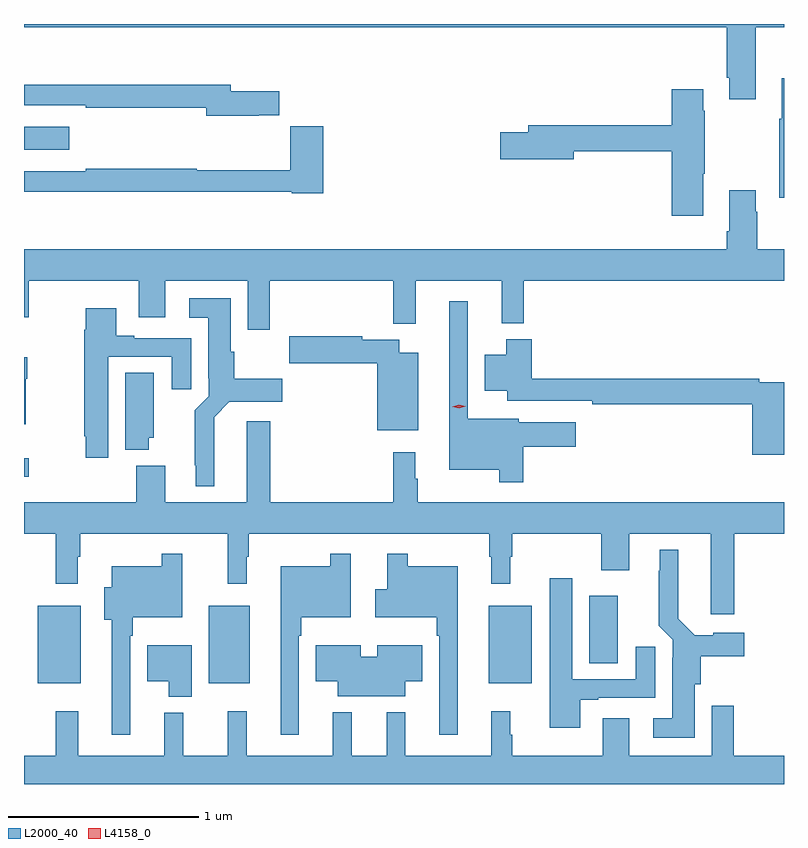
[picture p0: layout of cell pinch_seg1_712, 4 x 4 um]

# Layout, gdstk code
import gdstk
lib = gdstk.Library(unit=1e-6, precision=1e-09)
def R(c, l, rs):  # rectangles x0, y0, x1, y1
    for r in rs: c.add(gdstk.rectangle(r[:2], r[2:], *l))
def P(c, l, *ps):  # polygons
    for p in ps: c.add(gdstk.Polygon(p, *l))
L2000_40 = (2000, 40)
L4158_0 = (4158, 0)

pinch_seg1_712 = lib.new_cell('pinch_seg1_712')
R(pinch_seg1_712, L2000_40, [(640.202,537.623,640.429,538.033), (641.102,537.623,641.317,538.033), (642.575,537.623,642.802,538.033), (643.106,537.73,643.255,538.084), (640.13,538.712,640.156,538.809), (640.13,540.431,640.369,540.553)])
P(pinch_seg1_712, L2000_40, [(643.981,541.076),(644.13,541.076),(644.13,541.094),(640.13,541.094),(640.13,541.076),(643.829,541.076),(643.829,540.811),(643.841,540.811),(643.841,540.699),(643.981,540.699)],
  [(644.13,540.808),(644.117,540.808),(644.117,540.595),(644.106,540.595),(644.106,540.179),(644.13,540.179)],
  [(641.366,540.615),(641.474,540.615),(641.474,540.741),(641.218,540.741),(641.218,540.775),(640.13,540.775),(640.13,540.666),(640.456,540.666),(640.456,540.654),(641.09,540.654),(641.09,540.611),(641.366,540.611)],
  [(643.705,540.307),(643.713,540.307),(643.713,540.638),(643.705,540.638),(643.705,540.751),(643.538,540.751),(643.538,540.56),(642.785,540.56),(642.785,540.524),(642.636,540.524),(642.636,540.382),(643.024,540.382),(643.024,540.424),(643.538,540.424),(643.538,540.084),(643.705,540.084)],
  [(641.705,540.557),(641.531,540.557),(641.531,540.323),(641.038,540.323),(641.038,540.331),(640.456,540.331),(640.456,540.318),(640.13,540.318),(640.13,540.21),(641.538,540.21),(641.538,540.202),(641.705,540.202)],
  [(640.13,539.55),(640.155,539.55),(640.155,539.744),(640.733,539.744),(640.733,539.55),(640.873,539.55),(640.873,539.744),(641.307,539.744),(641.307,539.484),(641.423,539.484),(641.423,539.744),(642.073,539.744),(642.073,539.516),(642.191,539.516),(642.191,539.744),(642.644,539.744),(642.644,539.519),(642.761,539.519),(642.761,539.744),(644.13,539.744),(644.13,539.908),(643.989,539.908),(643.989,540.107),(643.981,540.107),(643.981,540.22),(643.841,540.22),(643.841,540.004),(643.829,540.004),(643.829,539.908),(640.13,539.908)],
  [(641.131,539.024),(641.211,539.105),(641.488,539.105),(641.488,539.227),(641.236,539.227),(641.236,539.37),(641.218,539.37),(641.218,539.65),(641.001,539.65),(641.001,539.549),(641.099,539.549),(641.099,539.23),(641.103,539.23),(641.103,539.136),(641.029,539.062),(641.029,538.771),(641.033,538.771),(641.033,538.661),(641.131,538.661)],
  [(642.758,538.87),(643.033,538.87),(643.033,538.999),(642.735,538.999),(642.735,539.017),(642.465,539.017),(642.465,539.635),(642.368,539.635),(642.368,538.748),(642.63,538.748),(642.63,538.683),(642.758,538.683)],
  [(640.573,539.343),(640.907,539.343),(640.907,539.172),(641.011,539.172),(641.011,539.439),(640.711,539.439),(640.711,539.452),(640.615,539.452),(640.615,539.599),(640.454,539.599),(640.454,539.486),(640.447,539.486),(640.447,538.924),(640.454,538.924),(640.454,538.812),(640.573,538.812)],
  [(642.205,539.365),(642.106,539.365),(642.106,539.431),(641.91,539.431),(641.91,539.451),(641.526,539.451),(641.526,539.309),(641.99,539.309),(641.99,538.955),(642.205,538.955)],
  [(644.13,539.208),(644,539.208),(644,539.228),(642.803,539.228),(642.803,539.434),(642.668,539.434),(642.668,539.353),(642.554,539.353),(642.554,539.165),(642.674,539.165),(642.674,539.112),(643.12,539.112),(643.12,539.092),(643.964,539.092),(643.964,538.827),(644.13,538.827)],
  [(640.138,539.228),(640.146,539.228),(640.146,539.341),(640.13,539.341),(640.13,538.988),(640.138,538.988)],
  [(640.786,538.917),(640.813,538.917),(640.813,539.258),(640.664,539.258),(640.664,538.853),(640.786,538.853)],
  [(643.868,538.412),(644.13,538.412),(644.13,538.576),(642.202,538.576),(642.202,538.7),(642.19,538.7),(642.19,538.84),(642.073,538.84),(642.073,538.576),(641.426,538.576),(641.426,539.002),(641.303,539.002),(641.303,538.576),(640.873,538.576),(640.873,538.768),(640.721,538.768),(640.721,538.576),(640.13,538.576),(640.13,538.412),(640.297,538.412),(640.297,538.149),(640.414,538.149),(640.414,538.289),(640.426,538.289),(640.426,538.412),(641.203,538.412),(641.203,538.149),(641.302,538.149),(641.302,538.289),(641.314,538.289),(641.314,538.412),(642.579,538.412),(642.579,538.289),(642.59,538.289),(642.59,538.149),(642.689,538.149),(642.689,538.289),(642.7,538.289),(642.7,538.412),(643.168,538.412),(643.168,538.218),(643.315,538.218),(643.315,538.412),(643.745,538.412),(643.745,537.987),(643.868,537.987)],
  [(643.66,537.618),(643.691,537.618),(643.691,537.767),(643.921,537.767),(643.921,537.889),(643.758,537.889),(643.758,537.877),(643.659,537.877),(643.573,537.964),(643.573,538.327),(643.475,538.327),(643.475,538.217),(643.471,538.217),(643.471,537.926),(643.545,537.852),(643.545,537.758),(643.541,537.758),(643.541,537.439),(643.443,537.439),(643.443,537.338),(643.66,537.338)],
  [(641.577,537.875),(641.59,537.875),(641.59,537.971),(641.85,537.971),(641.85,538.306),(641.742,538.306),(641.742,538.24),(641.48,538.24),(641.48,537.354),(641.577,537.354)],
  [(642.412,538.24),(642.151,538.24),(642.151,538.306),(642.041,538.306),(642.041,538.119),(641.978,538.119),(641.978,537.971),(642.303,537.971),(642.303,537.875),(642.315,537.875),(642.315,537.354),(642.412,537.354)],
  [(640.689,537.875),(640.702,537.875),(640.702,537.971),(640.962,537.971),(640.962,538.306),(640.854,538.306),(640.854,538.24),(640.592,538.24),(640.592,538.129),(640.553,538.129),(640.553,537.959),(640.592,537.959),(640.592,537.354),(640.689,537.354)],
  [(643.057,537.537),(643.153,537.537),(643.153,537.549),(643.453,537.549),(643.453,537.817),(643.349,537.817),(643.349,537.645),(643.015,537.645),(643.015,538.177),(642.896,538.177),(642.896,537.39),(643.057,537.39)],
  [(641.014,537.823),(640.778,537.823),(640.778,537.635),(640.892,537.635),(640.892,537.554),(641.014,537.554)],
  [(642.136,537.635),(642.226,537.635),(642.226,537.823),(641.99,537.823),(641.99,537.763),(641.902,537.763),(641.902,537.823),(641.666,537.823),(641.666,537.635),(641.78,537.635),(641.78,537.557),(642.136,537.557)],
  [(644.13,537.244),(643.865,537.244),(643.865,537.505),(643.749,537.505),(643.749,537.244),(643.315,537.244),(643.315,537.439),(643.175,537.439),(643.175,537.244),(642.7,537.244),(642.7,537.353),(642.689,537.353),(642.689,537.478),(642.59,537.478),(642.59,537.244),(642.137,537.244),(642.137,537.472),(642.038,537.472),(642.038,537.244),(641.855,537.244),(641.855,537.472),(641.756,537.472),(641.756,537.244),(641.303,537.244),(641.303,537.478),(641.203,537.478),(641.203,537.244),(640.968,537.244),(640.968,537.469),(640.868,537.469),(640.868,537.244),(640.415,537.244),(640.415,537.478),(640.297,537.478),(640.297,537.244),(640.13,537.244),(640.13,537.094),(644.13,537.094)])
P(pinch_seg1_712, L4158_0, [(642.42,539.071),(642.384,539.08),(642.384,539.08),(642.384,539.08),(642.419,539.091),(642.454,539.083),(642.455,539.082),(642.454,539.082)])

lib.write_gds('pinch_seg1_712.gds')
